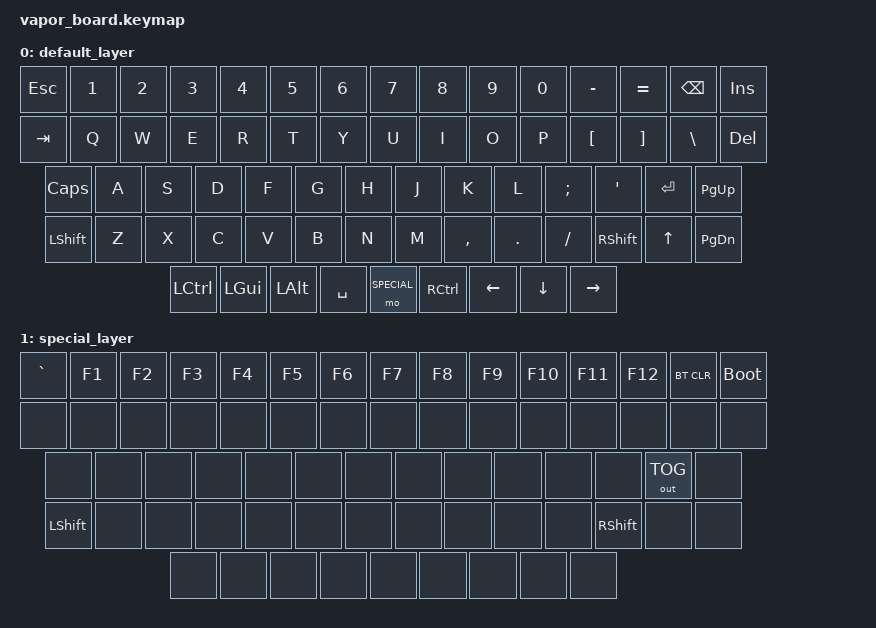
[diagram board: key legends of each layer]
#include <behaviors.dtsi>
#include <dt-bindings/zmk/keys.h>
#include <dt-bindings/zmk/bt.h>
#include <dt-bindings/zmk/outputs.h>

#define DEFAULT 0
#define SPECIAL 1

/ {
    keymap{
        compatible = "zmk,keymap";

        default_layer {
            bindings = <
                &kp ESC   &kp N1   &kp N2   &kp N3   &kp N4   &kp N5   &kp N6   &kp N7   &kp N8   &kp N9   &kp N0   &kp MINUS   &kp EQUAL   &kp BSPC   &kp INS  
                &kp TAB   &kp Q   &kp W   &kp E   &kp R   &kp T   &kp Y   &kp U   &kp I   &kp O   &kp P   &kp LBKT   &kp RBKT   &kp BSLH   &kp DEL
                &kp CAPS     &kp A   &kp S   &kp D   &kp F   &kp G   &kp H   &kp J   &kp K   &kp L   &kp SEMI   &kp SQT      &kp ENTER       &kp PG_UP
                &kp LSHFT      &kp Z   &kp X   &kp C   &kp V   &kp B   &kp N   &kp M   &kp COMMA   &kp DOT   &kp SLASH      &kp RSHFT      &kp UP   &kp PG_DN  
                &kp LCTRL   &kp LGUI   &kp LALT                   &kp SPACE                   &mo SPECIAL      &kp RCTRL                  &kp LEFT   &kp DOWN   &kp RIGHT  
            >;
        };

        special_layer {
            bindings = <
                &kp GRAVE   &kp F1   &kp F2   &kp F3   &kp F4   &kp F5   &kp F6   &kp F7   &kp F8   &kp F9   &kp F10   &kp F11   &kp F12   &bt BT_CLR   &bootloader 
                &none &none &none &none &none &none &none &none &none &none &none &none &none &none &none
                &none &none &none &none &none &none &none &none &none &none &none &none &out OUT_TOG &none
                &kp LSHFT &none &none &none &none &none &none &none &none &none &none &kp RSHFT &none &none  
                &none &none &none &none &none &none &none &none &none  
            >;
        };
    };
};
